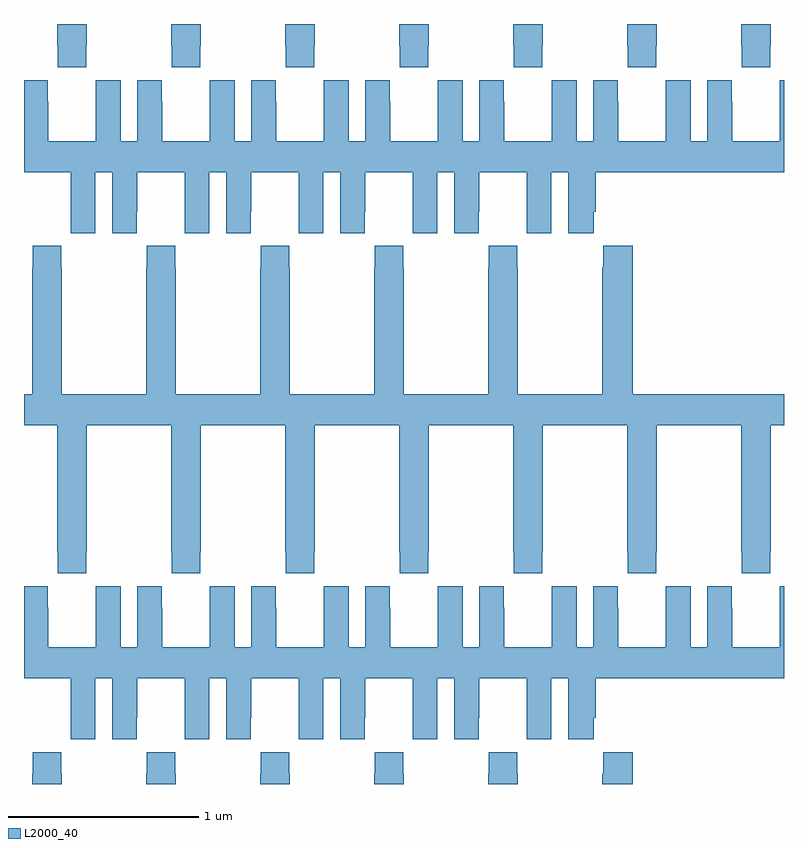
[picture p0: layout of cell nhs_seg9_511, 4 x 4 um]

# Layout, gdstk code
import gdstk
lib = gdstk.Library(unit=1e-6, precision=1e-09)
def P(c, l, *ps):  # polygons
    for p in ps: c.add(gdstk.Polygon(p, *l))
L2000_40 = (2000, 40)

nhs_seg9_511 = lib.new_cell('nhs_seg9_511')
P(nhs_seg9_511, L2000_40, [(135.175,1230.385),(135.177,1230.385),(135.177,1230.273),(135.327,1230.273),(135.327,1230.385),(135.33,1230.385),(135.33,1230.5),(135.175,1230.5)],
  [(138.927,1230.385),(138.93,1230.385),(138.93,1230.5),(138.775,1230.5),(138.775,1230.385),(138.777,1230.385),(138.777,1230.273),(138.927,1230.273)],
  [(138.327,1230.385),(138.33,1230.385),(138.33,1230.5),(138.175,1230.5),(138.175,1230.385),(138.177,1230.385),(138.177,1230.273),(138.327,1230.273)],
  [(137.727,1230.385),(137.73,1230.385),(137.73,1230.5),(137.575,1230.5),(137.575,1230.385),(137.577,1230.385),(137.577,1230.273),(137.727,1230.273)],
  [(137.127,1230.385),(137.13,1230.385),(137.13,1230.5),(136.975,1230.5),(136.975,1230.385),(136.977,1230.385),(136.977,1230.273),(137.127,1230.273)],
  [(136.527,1230.385),(136.53,1230.385),(136.53,1230.5),(136.375,1230.5),(136.375,1230.385),(136.377,1230.385),(136.377,1230.273),(136.527,1230.273)],
  [(135.927,1230.385),(135.93,1230.385),(135.93,1230.5),(135.775,1230.5),(135.775,1230.385),(135.777,1230.385),(135.777,1230.273),(135.927,1230.273)],
  [(135.376,1229.72),(135.464,1229.72),(135.464,1229.4),(135.594,1229.4),(135.594,1229.512),(135.595,1229.512),(135.595,1229.72),(135.845,1229.72),(135.845,1229.512),(135.846,1229.512),(135.846,1229.4),(135.976,1229.4),(135.976,1229.72),(136.064,1229.72),(136.064,1229.4),(136.194,1229.4),(136.194,1229.512),(136.195,1229.512),(136.195,1229.72),(136.445,1229.72),(136.445,1229.512),(136.446,1229.512),(136.446,1229.4),(136.576,1229.4),(136.576,1229.72),(136.664,1229.72),(136.664,1229.4),(136.794,1229.4),(136.794,1229.512),(136.795,1229.512),(136.795,1229.72),(137.045,1229.72),(137.045,1229.512),(137.046,1229.512),(137.046,1229.4),(137.176,1229.4),(137.176,1229.72),(137.264,1229.72),(137.264,1229.4),(137.394,1229.4),(137.394,1229.512),(137.395,1229.512),(137.395,1229.72),(137.645,1229.72),(137.645,1229.512),(137.646,1229.512),(137.646,1229.4),(137.776,1229.4),(137.776,1229.72),(137.864,1229.72),(137.864,1229.4),(137.998,1229.4),(137.998,1229.512),(138.008,1229.512),(138.008,1229.72),(139,1229.72),(139,1230.205),(138.978,1230.205),(138.978,1230.092),(138.977,1230.092),(138.977,1229.884),(138.727,1229.884),(138.727,1230.092),(138.726,1230.092),(138.726,1230.205),(138.596,1230.205),(138.596,1229.884),(138.508,1229.884),(138.508,1230.205),(138.378,1230.205),(138.378,1230.092),(138.377,1230.092),(138.377,1229.884),(138.127,1229.884),(138.127,1230.092),(138.126,1230.092),(138.126,1230.205),(137.996,1230.205),(137.996,1229.884),(137.908,1229.884),(137.908,1230.205),(137.778,1230.205),(137.778,1230.092),(137.777,1230.092),(137.777,1229.884),(137.527,1229.884),(137.527,1230.092),(137.526,1230.092),(137.526,1230.205),(137.396,1230.205),(137.396,1229.884),(137.308,1229.884),(137.308,1230.205),(137.178,1230.205),(137.178,1230.092),(137.177,1230.092),(137.177,1229.884),(136.927,1229.884),(136.927,1230.092),(136.926,1230.092),(136.926,1230.205),(136.796,1230.205),(136.796,1229.884),(136.708,1229.884),(136.708,1230.205),(136.578,1230.205),(136.578,1230.092),(136.577,1230.092),(136.577,1229.884),(136.327,1229.884),(136.327,1230.092),(136.326,1230.092),(136.326,1230.205),(136.196,1230.205),(136.196,1229.884),(136.108,1229.884),(136.108,1230.205),(135.978,1230.205),(135.978,1230.092),(135.977,1230.092),(135.977,1229.884),(135.727,1229.884),(135.727,1230.092),(135.726,1230.092),(135.726,1230.205),(135.596,1230.205),(135.596,1229.884),(135.508,1229.884),(135.508,1230.205),(135.378,1230.205),(135.378,1230.092),(135.377,1230.092),(135.377,1229.884),(135.127,1229.884),(135.127,1230.092),(135.126,1230.092),(135.126,1230.205),(135,1230.205),(135,1229.72),(135.245,1229.72),(135.245,1229.512),(135.246,1229.512),(135.246,1229.4),(135.376,1229.4)],
  [(135.045,1229.219),(135.043,1229.219),(135.043,1228.552),(135,1228.552),(135,1228.388),(135.175,1228.388),(135.175,1227.721),(135.177,1227.721),(135.177,1227.609),(135.327,1227.609),(135.327,1227.721),(135.33,1227.721),(135.33,1228.388),(135.775,1228.388),(135.775,1227.721),(135.777,1227.721),(135.777,1227.609),(135.927,1227.609),(135.927,1227.721),(135.93,1227.721),(135.93,1228.388),(136.375,1228.388),(136.375,1227.721),(136.377,1227.721),(136.377,1227.609),(136.527,1227.609),(136.527,1227.721),(136.53,1227.721),(136.53,1228.388),(136.975,1228.388),(136.975,1227.721),(136.977,1227.721),(136.977,1227.609),(137.127,1227.609),(137.127,1227.721),(137.13,1227.721),(137.13,1228.388),(137.575,1228.388),(137.575,1227.721),(137.577,1227.721),(137.577,1227.609),(137.727,1227.609),(137.727,1227.721),(137.73,1227.721),(137.73,1228.388),(138.175,1228.388),(138.175,1227.721),(138.177,1227.721),(138.177,1227.609),(138.327,1227.609),(138.327,1227.721),(138.33,1227.721),(138.33,1228.388),(138.775,1228.388),(138.775,1227.721),(138.777,1227.721),(138.777,1227.609),(138.927,1227.609),(138.927,1227.721),(138.93,1227.721),(138.93,1228.388),(139,1228.388),(139,1228.552),(138.203,1228.552),(138.203,1229.332),(138.049,1229.332),(138.049,1229.219),(138.043,1229.219),(138.043,1228.552),(137.598,1228.552),(137.598,1229.219),(137.595,1229.219),(137.595,1229.332),(137.445,1229.332),(137.445,1229.219),(137.443,1229.219),(137.443,1228.552),(136.998,1228.552),(136.998,1229.219),(136.995,1229.219),(136.995,1229.332),(136.845,1229.332),(136.845,1229.219),(136.843,1229.219),(136.843,1228.552),(136.398,1228.552),(136.398,1229.219),(136.395,1229.219),(136.395,1229.332),(136.245,1229.332),(136.245,1229.219),(136.243,1229.219),(136.243,1228.552),(135.798,1228.552),(135.798,1229.219),(135.795,1229.219),(135.795,1229.332),(135.645,1229.332),(135.645,1229.219),(135.643,1229.219),(135.643,1228.552),(135.198,1228.552),(135.198,1229.219),(135.195,1229.219),(135.195,1229.332),(135.045,1229.332)],
  [(135.376,1227.056),(135.464,1227.056),(135.464,1226.736),(135.594,1226.736),(135.594,1226.848),(135.595,1226.848),(135.595,1227.056),(135.845,1227.056),(135.845,1226.848),(135.846,1226.848),(135.846,1226.736),(135.976,1226.736),(135.976,1227.056),(136.064,1227.056),(136.064,1226.736),(136.194,1226.736),(136.194,1226.848),(136.195,1226.848),(136.195,1227.056),(136.445,1227.056),(136.445,1226.848),(136.446,1226.848),(136.446,1226.736),(136.576,1226.736),(136.576,1227.056),(136.664,1227.056),(136.664,1226.736),(136.794,1226.736),(136.794,1226.848),(136.795,1226.848),(136.795,1227.056),(137.045,1227.056),(137.045,1226.848),(137.046,1226.848),(137.046,1226.736),(137.176,1226.736),(137.176,1227.056),(137.264,1227.056),(137.264,1226.736),(137.394,1226.736),(137.394,1226.848),(137.395,1226.848),(137.395,1227.056),(137.645,1227.056),(137.645,1226.848),(137.646,1226.848),(137.646,1226.736),(137.776,1226.736),(137.776,1227.056),(137.864,1227.056),(137.864,1226.736),(137.998,1226.736),(137.998,1226.848),(138.008,1226.848),(138.008,1227.056),(139,1227.056),(139,1227.541),(138.978,1227.541),(138.978,1227.428),(138.977,1227.428),(138.977,1227.22),(138.727,1227.22),(138.727,1227.428),(138.726,1227.428),(138.726,1227.541),(138.596,1227.541),(138.596,1227.22),(138.508,1227.22),(138.508,1227.541),(138.378,1227.541),(138.378,1227.428),(138.377,1227.428),(138.377,1227.22),(138.127,1227.22),(138.127,1227.428),(138.126,1227.428),(138.126,1227.541),(137.996,1227.541),(137.996,1227.22),(137.908,1227.22),(137.908,1227.541),(137.778,1227.541),(137.778,1227.428),(137.777,1227.428),(137.777,1227.22),(137.527,1227.22),(137.527,1227.428),(137.526,1227.428),(137.526,1227.541),(137.396,1227.541),(137.396,1227.22),(137.308,1227.22),(137.308,1227.541),(137.178,1227.541),(137.178,1227.428),(137.177,1227.428),(137.177,1227.22),(136.927,1227.22),(136.927,1227.428),(136.926,1227.428),(136.926,1227.541),(136.796,1227.541),(136.796,1227.22),(136.708,1227.22),(136.708,1227.541),(136.578,1227.541),(136.578,1227.428),(136.577,1227.428),(136.577,1227.22),(136.327,1227.22),(136.327,1227.428),(136.326,1227.428),(136.326,1227.541),(136.196,1227.541),(136.196,1227.22),(136.108,1227.22),(136.108,1227.541),(135.978,1227.541),(135.978,1227.428),(135.977,1227.428),(135.977,1227.22),(135.727,1227.22),(135.727,1227.428),(135.726,1227.428),(135.726,1227.541),(135.596,1227.541),(135.596,1227.22),(135.508,1227.22),(135.508,1227.541),(135.378,1227.541),(135.378,1227.428),(135.377,1227.428),(135.377,1227.22),(135.127,1227.22),(135.127,1227.428),(135.126,1227.428),(135.126,1227.541),(135,1227.541),(135,1227.056),(135.245,1227.056),(135.245,1226.848),(135.246,1226.848),(135.246,1226.736),(135.376,1226.736)],
  [(135.045,1226.555),(135.043,1226.555),(135.043,1226.5),(135.198,1226.5),(135.198,1226.555),(135.195,1226.555),(135.195,1226.668),(135.045,1226.668)],
  [(135.798,1226.555),(135.795,1226.555),(135.795,1226.668),(135.645,1226.668),(135.645,1226.555),(135.643,1226.555),(135.643,1226.5),(135.798,1226.5)],
  [(136.398,1226.555),(136.395,1226.555),(136.395,1226.668),(136.245,1226.668),(136.245,1226.555),(136.243,1226.555),(136.243,1226.5),(136.398,1226.5)],
  [(136.998,1226.555),(136.995,1226.555),(136.995,1226.668),(136.845,1226.668),(136.845,1226.555),(136.843,1226.555),(136.843,1226.5),(136.998,1226.5)],
  [(137.598,1226.555),(137.595,1226.555),(137.595,1226.668),(137.445,1226.668),(137.445,1226.555),(137.443,1226.555),(137.443,1226.5),(137.598,1226.5)],
  [(138.203,1226.668),(138.049,1226.668),(138.049,1226.555),(138.043,1226.555),(138.043,1226.5),(138.203,1226.5)])

lib.write_gds('nhs_seg9_511.gds')
